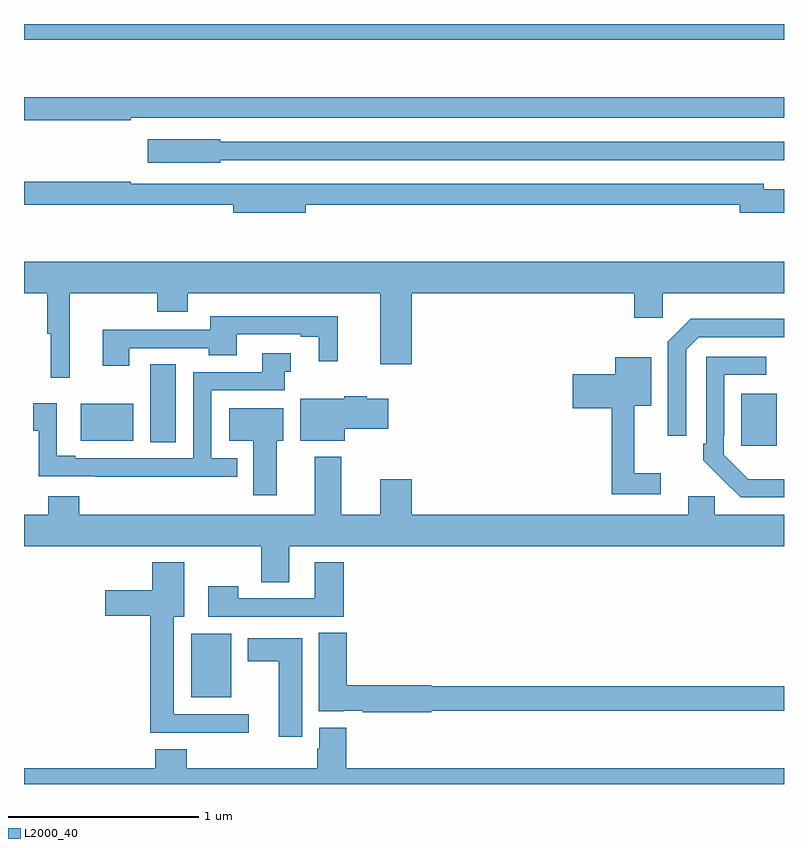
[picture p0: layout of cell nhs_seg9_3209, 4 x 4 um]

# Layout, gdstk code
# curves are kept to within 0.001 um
import gdstk
lib = gdstk.Library(unit=1e-6, precision=1e-09)
def R(c, l, rs):  # rectangles x0, y0, x1, y1
    for r in rs: c.add(gdstk.rectangle(r[:2], r[2:], *l))
def P(c, l, *ps):  # polygons
    for p in ps: c.add(gdstk.Polygon(p, *l))
L2000_40 = (2000, 40)

nhs_seg9_3209 = lib.new_cell('nhs_seg9_3209')
R(nhs_seg9_3209, L2000_40, [(295.88,1196.957,296.092,1197.292), (298.775,1198.281,298.963,1198.555), (295.664,1198.3,295.798,1198.709), (295.298,1198.307,295.576,1198.501), (295,1200.416,299,1200.5)])
P(nhs_seg9_3209, L2000_40, [(295.562,1200.006),(299,1200.006),(299,1200.115),(295,1200.115),(295,1199.994),(295.562,1199.994)],
  [(296.034,1199.784),(298.99,1199.784),(298.99,1199.783),(299,1199.783),(299,1199.88),(296.034,1199.88),(296.034,1199.893),(295.65,1199.893),(295.65,1199.771),(296.034,1199.771)],
  [(296.482,1199.55),(298.766,1199.55),(298.766,1199.507),(299,1199.507),(299,1199.629),(298.894,1199.629),(298.894,1199.658),(295.562,1199.658),(295.562,1199.671),(295,1199.671),(295,1199.55),(296.102,1199.55),(296.102,1199.507),(296.482,1199.507)],
  [(295.24,1199.084),(295.702,1199.084),(295.702,1198.985),(295.862,1198.985),(295.862,1199.084),(296.876,1199.084),(296.876,1198.71),(297.04,1198.71),(297.04,1199.084),(298.211,1199.084),(298.211,1198.953),(298.362,1198.953),(298.362,1199.084),(299,1199.084),(299,1199.248),(295,1199.248),(295,1199.084),(295.123,1199.084),(295.123,1198.869),(295.142,1198.869),(295.142,1198.638),(295.24,1198.638)],
  [(295.555,1198.794),(295.972,1198.794),(295.972,1198.757),(296.119,1198.757),(296.119,1198.866),(296.456,1198.866),(296.456,1198.854),(296.552,1198.854),(296.552,1198.725),(296.652,1198.725),(296.652,1198.962),(295.979,1198.962),(295.979,1198.89),(295.415,1198.89),(295.415,1198.701),(295.555,1198.701)],
  [(298.485,1198.785),(298.551,1198.851),(299,1198.851),(299,1198.948),(298.51,1198.948),(298.389,1198.827),(298.389,1198.332),(298.485,1198.332)],
  [(296.122,1198.215),(295.986,1198.215),(295.986,1198.572),(296.372,1198.572),(296.372,1198.67),(296.404,1198.67),(296.404,1198.767),(296.255,1198.767),(296.255,1198.668),(295.89,1198.668),(295.89,1198.215),(295.27,1198.215),(295.27,1198.228),(295.173,1198.228),(295.173,1198.504),(295.049,1198.504),(295.049,1198.359),(295.077,1198.359),(295.077,1198.119),(295.375,1198.119),(295.375,1198.118),(296.122,1198.118)],
  [(299,1198.104),(298.812,1198.105),(298.683,1198.233),(298.683,1198.333),(298.686,1198.333),(298.686,1198.653),(298.906,1198.653),(298.906,1198.749),(298.59,1198.749),(298.59,1198.291),(298.575,1198.291),(298.575,1198.203),(298.772,1198.008),(299,1198.008)],
  [(298.351,1198.135),(298.211,1198.135),(298.211,1198.49),(298.3,1198.49),(298.3,1198.747),(298.112,1198.747),(298.112,1198.656),(297.888,1198.656),(297.888,1198.478),(298.093,1198.478),(298.093,1198.026),(298.351,1198.026)],
  [(296.689,1198.37),(296.917,1198.37),(296.917,1198.528),(296.804,1198.528),(296.804,1198.541),(296.685,1198.541),(296.685,1198.528),(296.453,1198.528),(296.453,1198.307),(296.689,1198.307)],
  [(296.329,1198.307),(296.365,1198.307),(296.365,1198.477),(296.081,1198.477),(296.081,1198.307),(296.207,1198.307),(296.207,1198.02),(296.329,1198.02)],
  [(296.395,1197.752),(299,1197.752),(299,1197.916),(298.635,1197.916),(298.635,1198.014),(298.496,1198.014),(298.496,1197.916),(297.04,1197.916),(297.04,1198.105),(296.876,1198.105),(296.876,1197.916),(296.671,1197.916),(296.671,1198.222),(296.531,1198.222),(296.531,1197.916),(295.292,1197.916),(295.292,1198.015),(295.127,1198.015),(295.127,1197.916),(295,1197.916),(295,1197.752),(296.248,1197.752),(296.248,1197.562),(296.395,1197.562)],
  [(296.182,1196.868),(295.789,1196.868),(295.789,1197.38),(295.843,1197.38),(295.843,1197.667),(295.676,1197.667),(295.676,1197.52),(295.428,1197.52),(295.428,1197.386),(295.664,1197.386),(295.664,1196.771),(296.182,1196.771)],
  [(296.684,1197.667),(296.531,1197.667),(296.531,1197.477),(296.127,1197.477),(296.127,1197.541),(295.971,1197.541),(295.971,1197.381),(296.684,1197.381)],
  [(297.144,1196.886),(299,1196.886),(299,1197.014),(297.144,1197.014),(297.144,1197.02),(296.699,1197.02),(296.699,1197.296),(296.552,1197.296),(296.552,1196.882),(296.682,1196.882),(296.682,1196.885),(296.782,1196.885),(296.782,1196.878),(297.144,1196.878)],
  [(296.464,1197.268),(296.177,1197.268),(296.177,1197.146),(296.342,1197.146),(296.342,1196.748),(296.464,1196.748)],
  [(299,1196.584),(296.696,1196.584),(296.696,1196.797),(296.555,1196.797),(296.555,1196.685),(296.543,1196.685),(296.543,1196.584),(295.856,1196.584),(295.856,1196.683),(295.691,1196.683),(295.691,1196.584),(295,1196.584),(295,1196.5),(299,1196.5)])

lib.write_gds('nhs_seg9_3209.gds')
